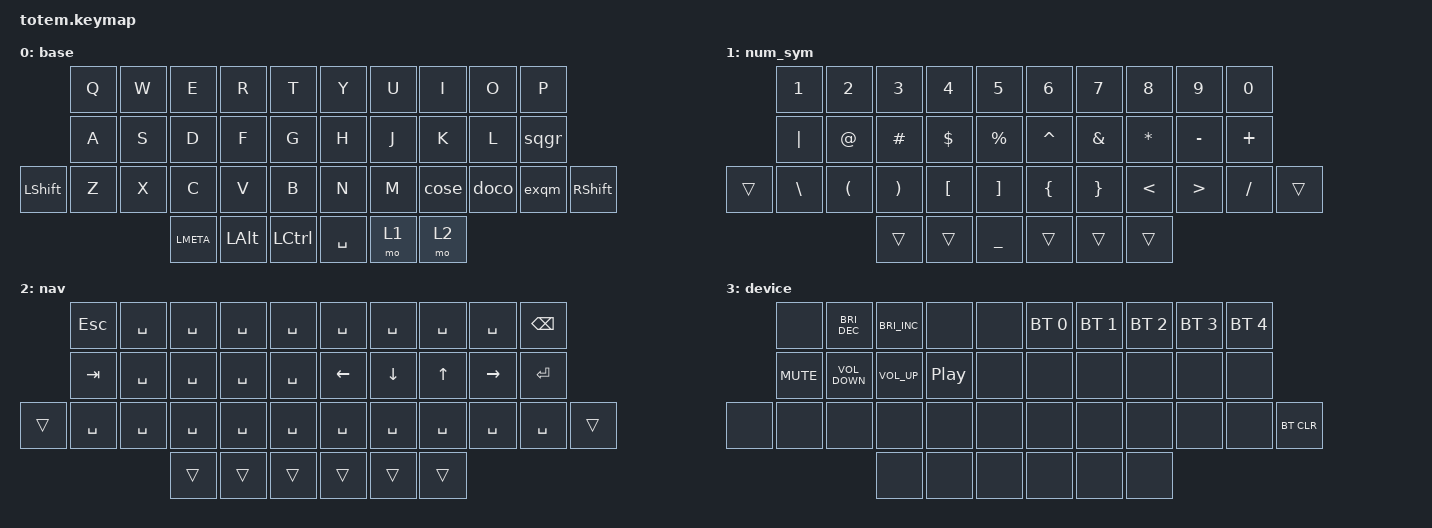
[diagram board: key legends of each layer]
//
//                                                        ▀▀▀▀▀     ▀▀▀▀▀          ▀▀█▀▀
//                                                        ▄▀▀▀▄  ▄  ▄▀▀▀▄  ▄  ▄▀▀▀▄  █  ▄▀▀▀▄
//                                                        █   █  █  █   █  █  █   █  █  █   █
//                                                         ▀▀▀   █   ▀▀▀   █   ▀▀▀   ▀   ▀▀▀
//                                                               █      ▄▄▄█▄▄▄    █   █  
//                                                               ▀      █  █  █     █▄█
//                                                             ▀▀▀▀▀    █  █  █      ▀
//                                                                      ▀  ▀  ▀
//
// ▄▄▄▄▄▄▄▄▄▄▄▄▄▄▄▄▄▄▄▄▄▄▄▄▄▄▄▄▄▄▄▄▄▄▄▄▄▄▄▄▄▄▄▄▄▄▄▄▄▄▄▄▄▄▄▄▄▄▄▄▄▄▄▄▄▄▄▄▄▄▄▄▄▄▄▄▄▄▄▄▄▄▄▄▄▄▄▄▄▄▄▄▄▄▄▄▄▄▄▄▄▄▄▄▄▄▄▄▄▄▄▄▄▄▄▄▄▄▄▄▄▄▄▄▄▄▄▄▄▄▄▄▄▄▄▄▄▄▄▄▄▄▄▄▄▄▄▄▄

#include <behaviors.dtsi>
#include <dt-bindings/zmk/bt.h>
#include <dt-bindings/zmk/keys.h>

/ {
    combos {
        compatible = "zmk,combos";

        equal {
            bindings = <&kp EQUAL>;
            key-positions = <16 17>;
            timeout-ms = <75>;
            layers = <1>;
        };

        tilde {
            bindings = <&kp TILDE>;
            key-positions = <13 12>;
            timeout-ms = <75>;
            layers = <1>;
        };
    };

    behaviors {
        exqm: exqm {
            compatible = "zmk,behavior-mod-morph";
            label = "EXQM";
            bindings = <&kp EXCL>, <&kp QMARK>;

            #binding-cells = <0>;
            mods = <(MOD_LSFT|MOD_RSFT)>;
        };

        cose: cose {
            compatible = "zmk,behavior-mod-morph";
            label = "COSE";
            bindings = <&kp COMMA>, <&kp SEMI>;

            #binding-cells = <0>;
            mods = <(MOD_LSFT|MOD_RSFT)>;
        };

        doco: doco {
            compatible = "zmk,behavior-mod-morph";
            label = "DOCO";
            bindings = <&kp DOT>, <&kp COLON>;

            #binding-cells = <0>;
            mods = <(MOD_LSFT|MOD_RSFT)>;
        };

        sqgr: sqgr {
            compatible = "zmk,behavior-tap-dance";
            label = "SQGR";
            #binding-cells = <0>;
            bindings = <&kp SQT>, <&kp GRAVE>;
        };
    };

    keymap {
        compatible = "zmk,keymap";

        base {
            bindings = <
           &kp Q  &kp W  &kp E      &kp R     &kp T        &kp Y      &kp U  &kp I  &kp O  &kp P
           &kp A  &kp S  &kp D      &kp F     &kp G        &kp H      &kp J  &kp K  &kp L  &sqgr
&kp LSHFT  &kp Z  &kp X  &kp C      &kp V     &kp B        &kp N      &kp M  &cose  &doco  &exqm  &kp RSHFT
                         &kp LMETA  &kp LALT  &kp LCTRL    &kp SPACE  &mo 1  &mo 2
            >;
        };

        num_sym {
            bindings = <
        &kp N1    &kp N2    &kp N3    &kp N4    &kp N5       &kp N6     &kp N7    &kp N8    &kp N9     &kp N0
        &kp PIPE  &kp AT    &kp HASH  &kp DLLR  &kp PRCNT    &kp CARET  &kp AMPS  &kp STAR  &kp MINUS  &kp PLUS
&trans  &kp BSLH  &kp LPAR  &kp RPAR  &kp LBKT  &kp RBKT     &kp LBRC   &kp RBRC  &kp LT    &kp GT     &kp FSLH  &trans
                            &trans    &trans    &kp UNDER    &trans     &trans    &trans
            >;
        };

        nav {
            bindings = <
        &kp ESC    &kp SPACE  &kp SPACE  &kp SPACE  &kp SPACE    &kp SPACE  &kp SPACE  &kp SPACE  &kp SPACE  &kp BSPC
        &kp TAB    &kp SPACE  &kp SPACE  &kp SPACE  &kp SPACE    &kp LEFT   &kp DOWN   &kp UP     &kp RIGHT  &kp RET
&trans  &kp SPACE  &kp SPACE  &kp SPACE  &kp SPACE  &kp SPACE    &kp SPACE  &kp SPACE  &kp SPACE  &kp SPACE  &kp SPACE  &trans
                              &trans     &trans     &trans       &trans     &trans     &trans
            >;
        };

        device {
            bindings = <
       &none       &kp C_BRIGHTNESS_DEC  &kp C_BRIGHTNESS_INC  &none             &none    &bt BT_SEL 0  &bt BT_SEL 1  &bt BT_SEL 2  &bt BT_SEL 3  &bt BT_SEL 4
       &kp K_MUTE  &kp C_VOLUME_DOWN     &kp C_VOLUME_UP       &kp C_PLAY_PAUSE  &none    &none         &none         &none         &none         &none
&none  &none       &none                 &none                 &none             &none    &none         &none         &none         &none         &none         &bt BT_CLR
                                         &none                 &none             &none    &none         &none         &none
            >;
        };
    };

    conditional_layers {
        compatible = "zmk,conditional-layers";

        device {
            if-layers = <3 2>;
            then-layer = <4>;
        };
    };
};
